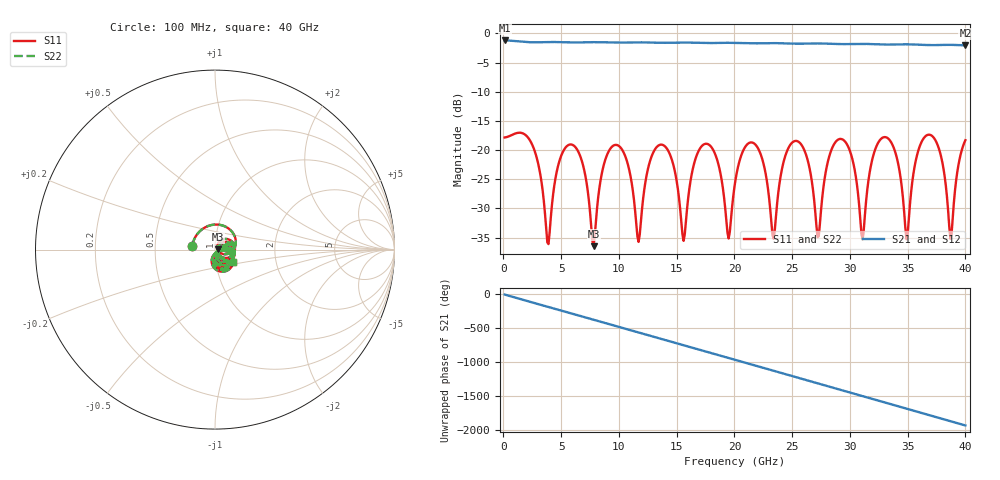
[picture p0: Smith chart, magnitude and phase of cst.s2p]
! T_ts6_sl_20: Stripline In2, ThunderScope stack, w 0.183 mm, 20 mm
! stackup: ThunderScope Rev5.3 6-layer (FR408HR / FR-4, from the board file)
! ports: 1 near A, 2 far A
! CST Studio Suite 2025.5 Release from 2025-05-30, time domain (FIT, hexahedral, PBA), 151788 mesh cells, 31 s
! mesh: {'lpw': 20, 'lpb': 20, 'minstep': 0.0, 'ratio': 20}; ports: port 1 (face); port 2 (face)
! interpolated from CST's 1001 samples to the case grid
# Hz S RI R 50
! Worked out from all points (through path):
!   400 points, 100 MHz to 40 GHz, reference 50 ohm
!   highest |S21| = -1.21 dB at 100 MHz (marker M1); lowest = -2.1 dB at 40 GHz (marker M2)
!   group delay of S21, straight-line fit = 134 ps
!   lowest |S11| = -36.5 dB at 7.8 GHz (marker M3), VSWR 1.03, Z = 51.5 + j0.0604 ohm
!   |S11| at or under -10 dB: start of sweep to end of sweep
!   |S22| runs from -36.5 to -17.0 dB; largest |S21 - S12| = 3.9e-07
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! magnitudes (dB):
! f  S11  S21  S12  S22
! 100 MHz  -17.9  -1.2  -1.2  -17.9
! 2.6 GHz  -19.6  -1.5  -1.5  -19.6
! 3.9 GHz  -36.1  -1.5  -1.5  -36.1
! 6.8 GHz  -21.9  -1.5  -1.5  -21.9
! 7.8 GHz  -36.5  -1.5  -1.5  -36.5
! 9.2 GHz  -19.9  -1.5  -1.5  -19.9
! 11.7 GHz  -35.8  -1.5  -1.5  -35.8
! 13.4 GHz  -19.3  -1.6  -1.6  -19.3
! 15.6 GHz  -35.6  -1.6  -1.6  -35.6
! 17.1 GHz  -19.5  -1.6  -1.6  -19.5
! 19.5 GHz  -35.2  -1.6  -1.6  -35.2
! 20.1 GHz  -25.0  -1.6  -1.6  -25.0
! 23.4 GHz  -35.2  -1.7  -1.7  -35.2
! 26.7 GHz  -25.3  -1.7  -1.7  -25.3
! 27.3 GHz  -34.8  -1.7  -1.7  -34.8
! 29.6 GHz  -18.6  -1.8  -1.8  -18.6
! 31.1 GHz  -35.3  -1.8  -1.8  -35.3
! 33.4 GHz  -18.2  -1.9  -1.9  -18.2
! 34.9 GHz  -35.3  -1.9  -1.9  -35.3
! 36.8 GHz  -17.4  -2.0  -2.0  -17.4
! 38.7 GHz  -35.2  -2.0  -2.0  -35.2
! 40 GHz  -18.3  -2.1  -2.1  -18.3
